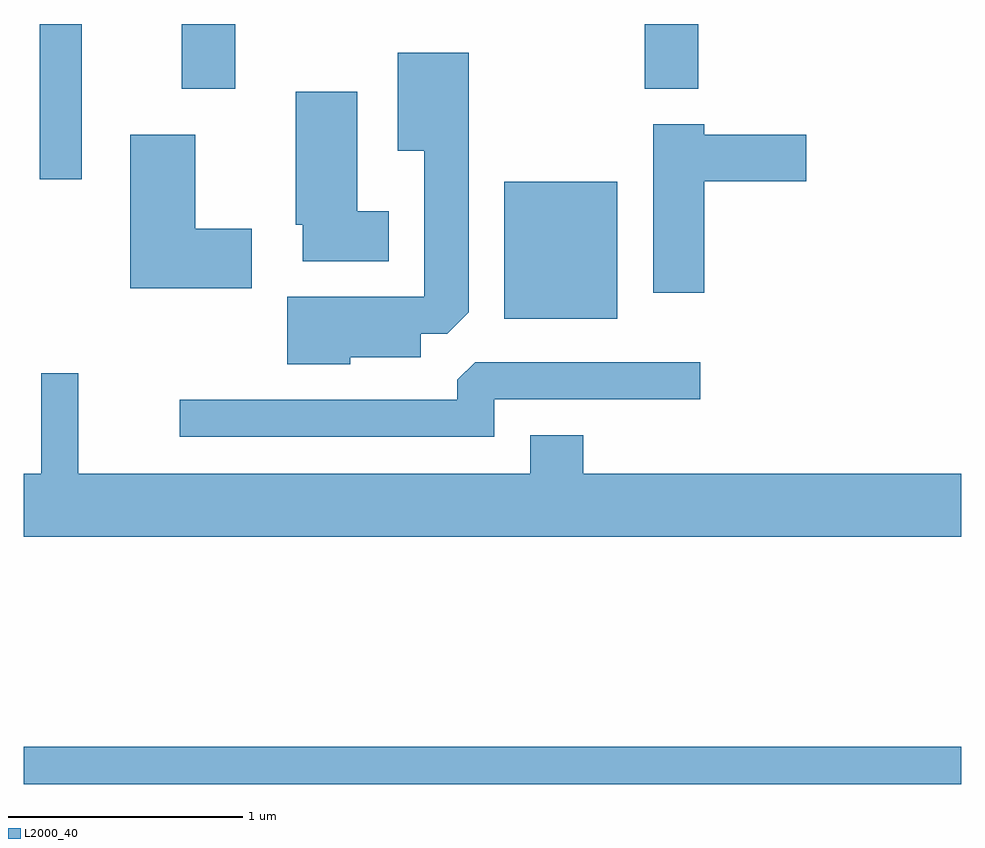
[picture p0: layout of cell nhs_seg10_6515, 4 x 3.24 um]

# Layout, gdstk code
import gdstk
lib = gdstk.Library(unit=1e-6, precision=1e-09)
def R(c, l, rs):  # rectangles x0, y0, x1, y1
    for r in rs: c.add(gdstk.rectangle(r[:2], r[2:], *l))
def P(c, l, *ps):  # polygons
    for p in ps: c.add(gdstk.Polygon(p, *l))
L2000_40 = (2000, 40)

nhs_seg10_6515 = lib.new_cell('nhs_seg10_6515')
R(nhs_seg10_6515, L2000_40, [(377.611,2137.281,381.611,2137.439), (379.661,2139.266,380.144,2139.849), (377.681,2139.861,377.859,2140.522), (378.286,2140.246,378.514,2140.522), (380.261,2140.246,380.489,2140.522)])
P(nhs_seg10_6515, L2000_40, [(379.004,2139.101),(379.304,2139.101),(379.304,2139.201),(379.419,2139.201),(379.509,2139.292),(379.509,2140.399),(379.206,2140.399),(379.206,2139.981),(379.321,2139.981),(379.321,2139.359),(378.736,2139.359),(378.736,2139.071),(379.004,2139.071)],
  [(379.169,2139.724),(379.034,2139.724),(379.034,2140.234),(378.771,2140.234),(378.771,2139.666),(378.801,2139.666),(378.801,2139.511),(379.169,2139.511)],
  [(380.514,2139.851),(380.949,2139.851),(380.949,2140.049),(380.514,2140.049),(380.514,2140.094),(380.296,2140.094),(380.296,2139.376),(380.514,2139.376)],
  [(378.584,2139.649),(378.344,2139.649),(378.344,2140.049),(378.066,2140.049),(378.066,2139.396),(378.584,2139.396)],
  [(379.619,2138.921),(380.498,2138.921),(380.498,2139.079),(379.537,2139.079),(379.461,2139.004),(379.461,2138.919),(378.278,2138.919),(378.278,2138.761),(379.619,2138.761)],
  [(381.611,2138.604),(379.999,2138.604),(379.999,2138.769),(379.771,2138.769),(379.771,2138.604),(377.844,2138.604),(377.844,2139.033),(377.686,2139.033),(377.686,2138.604),(377.611,2138.604),(377.611,2138.336),(381.611,2138.336)])

lib.write_gds('nhs_seg10_6515.gds')
